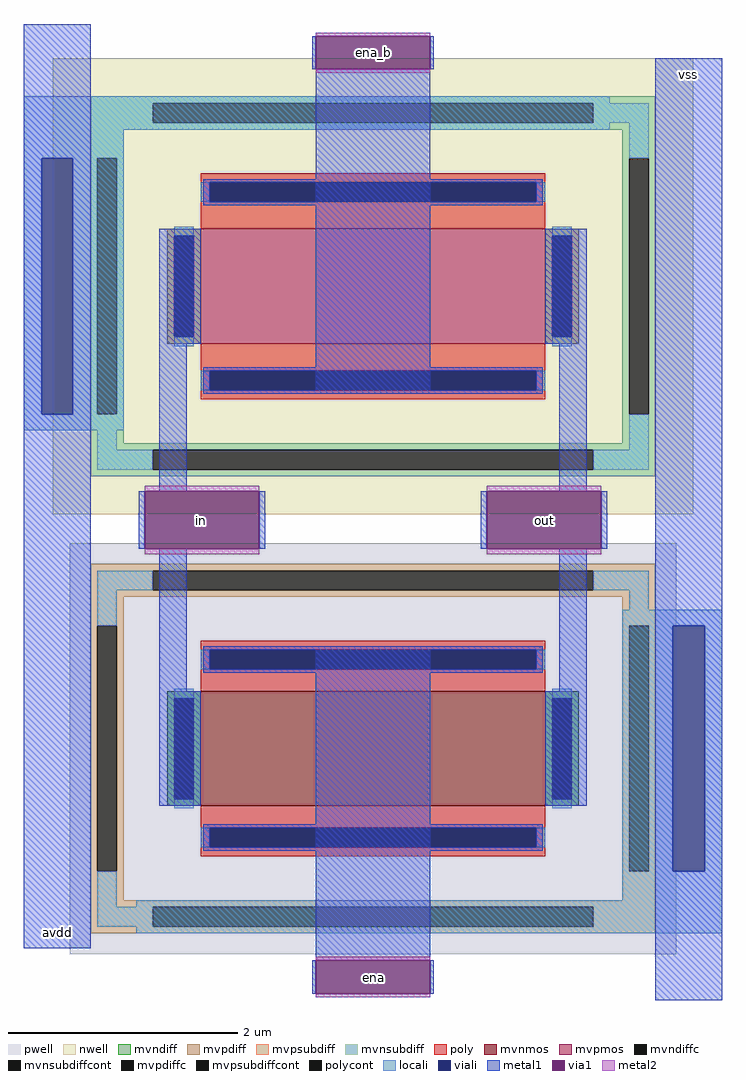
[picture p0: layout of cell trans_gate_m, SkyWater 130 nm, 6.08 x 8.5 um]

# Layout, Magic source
magic
tech sky130A
magscale 1 2
<< locali >>
rect -145 1371 875 1429
rect -145 1321 29 1371
rect -145 875 -114 1321
rect -60 875 29 1321
rect -145 847 29 875
rect 897 507 1071 535
rect 897 79 985 507
rect 1041 79 1071 507
rect 897 29 1071 79
rect 51 -29 1071 29
<< viali >>
rect -114 875 -60 1321
rect 985 79 1041 507
<< metal1 >>
rect -145 1321 -29 1555
rect 357 1476 363 1534
rect 563 1476 569 1534
rect -145 875 -114 1321
rect -60 875 -29 1321
rect -145 -55 -29 875
rect 91 998 163 1198
rect 91 741 139 998
rect 363 911 563 1476
rect 763 998 835 1198
rect 787 741 835 998
rect 55 641 65 741
rect 265 641 275 741
rect 651 641 661 741
rect 861 641 871 741
rect 91 393 139 641
rect 91 193 163 393
rect 363 -76 563 471
rect 787 393 835 641
rect 763 193 835 393
rect 955 507 1071 1495
rect 955 79 985 507
rect 1041 79 1071 507
rect 357 -134 363 -76
rect 563 -134 569 -76
rect 955 -145 1071 79
<< via1 >>
rect 363 1476 563 1534
rect 65 641 265 741
rect 661 641 861 741
rect 363 -134 563 -76
<< metal2 >>
rect 363 1534 563 1540
rect 363 1470 563 1476
rect 65 741 265 751
rect 65 631 265 641
rect 661 741 861 751
rect 661 631 861 641
rect 363 -76 563 -70
rect 363 -140 563 -134
use sky130_fd_pr__nfet_g5v0d10v5_CY564Z  sky130_fd_pr__nfet_g5v0d10v5_CY564Z_0
transform 1 0 463 0 1 293
box -528 -358 528 358
use sky130_fd_pr__pfet_g5v0d10v5_6H9SQ3  sky130_fd_pr__pfet_g5v0d10v5_6H9SQ3_1
transform 1 0 463 0 1 1098
box -558 -397 558 397
<< labels >>
flabel metal2 65 641 265 741 0 FreeSans 800 0 0 0 in
port 1 nsew
flabel metal2 661 641 861 741 0 FreeSans 800 0 0 0 out
port 6 nsew
flabel metal1 985 1439 1041 1495 5 FreeSans 800 0 0 0 vss
port 5 s
flabel metal2 363 1476 563 1534 0 FreeSans 800 0 0 0 ena_b
port 2 nsew
flabel metal2 363 -134 563 -76 0 FreeSans 800 0 0 0 ena
port 3 nsew
flabel metal1 -115 -55 -59 1 1 FreeSans 800 0 0 0 avdd
port 4 n
<< end >>

# cell sky130_fd_pr__nfet_g5v0d10v5_CY564Z: kit device sky130_fd_pr__nfet_g5v0d10v5, w 1 l 3 m 1 nf 1 diffcov 100 polycov 100 guard 1 glc 1 grc 1 gtc 1 gbc 1 tbcov 100 rlcov 100 topc 1 botc 1 poverlap 0 doverlap 1 lmin 0.50 wmin 0.42 compatible {sky130_fd_pr__nfet_01v8 sky130_fd_pr__nfet_01v8_lvt sky130_fd_bs_flash__special_sonosfet_star sky130_fd_pr__nfet_g5v0d10v5 sky130_fd_pr__nfet_05v0_nvt sky130_fd_pr__nfet_03v3_nvt} full_metal 1 viasrc 100 viadrn 100 viagate 100 viagb 0 viagr 0 viagl 0 viagt 0

# cell sky130_fd_pr__pfet_g5v0d10v5_6H9SQ3: kit device sky130_fd_pr__pfet_g5v0d10v5, w 1 l 3 m 1 nf 1 diffcov 100 polycov 100 guard 1 glc 1 grc 1 gtc 1 gbc 1 tbcov 100 rlcov 100 topc 1 botc 1 poverlap 0 doverlap 1 lmin 0.50 wmin 0.42 compatible {sky130_fd_pr__pfet_01v8 sky130_fd_pr__pfet_01v8_lvt sky130_fd_pr__pfet_01v8_hvt sky130_fd_pr__pfet_g5v0d10v5} full_metal 1 viasrc 100 viadrn 100 viagate 100 viagb 0 viagr 0 viagl 0 viagt 0
